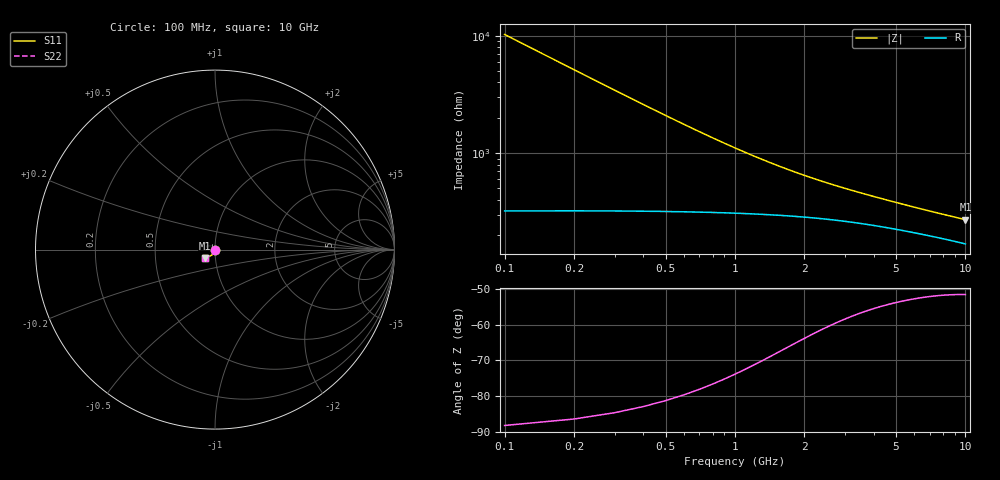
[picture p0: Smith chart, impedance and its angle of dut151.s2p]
! Touchstone file exported from HFSS 2024.1.0
!  File:  C:/UserFiles/LocalFiles/RDL_TSV_Batchsim/temp_TSV1_151_1778754958.aedt
!  Generated:  06:40:21 PM May 14, 2026
!  Design:  TSV1
!  Project:  temp_TSV1_151_1778754958
!  Setup:  Setup1
!  Solution:  Sweep
! Variables:
!  dtsv = 22.56um
!  hbump = 3um
!  htsv = 56.53um
!  lrdl = 252.1521522um
!  p = 40
!  p1 = 53.38um
!  t = 500um
!  trdl = 3um
!  wrdl = 24.89489489um
# GHz S MA R 50.000000
! Terminal data exported
! Port[1] = TSV22_T1
! Port[2] = TSV22_T2
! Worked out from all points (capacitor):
!   100 points, 100 MHz to 10 GHz, reference 50 ohm
!   read as one part in shunt: C = 155 fF near 100 MHz
!   lowest |Z| = 271 ohm at 10 GHz (marker M1)
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0.1  0.002218 -90.3  0.9999 -0.2  0.9999 -0.2  0.002218 -90.3
! Gamma 0 0 0 0
! Port Impedance 50 0 50 0
0.2  0.004424 -93.2  0.9996 -0.3  0.9996 -0.3  0.004424 -93.2
0.3  0.006609 -95.4  0.9992 -0.5  0.9992 -0.5  0.006609 -95.4
0.4  0.008763 -97.5  0.9986 -0.6  0.9986 -0.6  0.008763 -97.5
0.5  0.01088 -99.4  0.998 -0.7  0.998 -0.7  0.01088 -99.4
0.6  0.01294 -101.3  0.9972 -0.9  0.9972 -0.9  0.01294 -101.3
0.7  0.01494 -103.1  0.9963 -1.0  0.9963 -1.0  0.01494 -103.1
0.8  0.01688 -104.8  0.9953 -1.1  0.9953 -1.1  0.01688 -104.8
0.9  0.01875 -106.5  0.9943 -1.2  0.9943 -1.2  0.01875 -106.5
1.1  0.02228 -109.6  0.9922 -1.4  0.9922 -1.4  0.02228 -109.6
1.4  0.02703 -113.7  0.9888 -1.7  0.9888 -1.7  0.02703 -113.7
1.6  0.02985 -116.1  0.9866 -1.9  0.9866 -1.9  0.02985 -116.1
1.8  0.03243 -118.3  0.9845 -2.0  0.9845 -2.0  0.03243 -118.3
2.1  0.03589 -121.1  0.9814 -2.2  0.9814 -2.2  0.03589 -121.1
2.5  0.03988 -124.1  0.9776 -2.4  0.9776 -2.4  0.03988 -124.1
2.9  0.04334 -126.6  0.9743 -2.6  0.9743 -2.6  0.04334 -126.6
3.4  0.0471 -129.0  0.9705 -2.8  0.9705 -2.8  0.04709 -129.0
4.2  0.05222 -131.8  0.9654 -3.1  0.9654 -3.1  0.05222 -131.8
5.1  0.05709 -134.1  0.9607 -3.4  0.9607 -3.4  0.05709 -134.1
6.7  0.0642 -136.9  0.9538 -4.0  0.9538 -4.0  0.0642 -136.9
8.4  0.07027 -138.8  0.948 -4.4  0.948 -4.4  0.07027 -138.8
10  0.07504 -140.0  0.9437 -4.9  0.9437 -4.9  0.07504 -140.0
